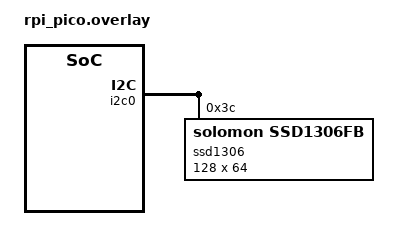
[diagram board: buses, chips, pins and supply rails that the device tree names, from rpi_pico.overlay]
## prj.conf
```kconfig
CONFIG_I2C=y
CONFIG_DISPLAY=y
CONFIG_SSD1306=y
# From Zephyr 3.5.0 CONFIG_SSD1306_DEFAULT is no longer used
# CONFIG_SSD1306_DEFAULT=y
CONFIG_SSD1306_DEFAULT_CONTRAST=128
CONFIG_LOG=y

CONFIG_HEAP_MEM_POOL_SIZE=16384
CONFIG_CFB_LOG_LEVEL_DBG=y
CONFIG_CHARACTER_FRAMEBUFFER=y
```

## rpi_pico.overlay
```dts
/ {
	chosen {
		zephyr,display = &ssd1306;
	};
};

&i2c0 {
      ssd1306: ssd1306@3c {
      	       compatible = "solomon,ssd1306fb";
	       reg = <0x3c>;
	       height = <64>;
	       width = <128>;
	       segment-offset = <0>;
	       page-offset = <0>;
	       display-offset = <0>;
	       multiplex-ratio = <63>;
	       prechargep = <0x22>;
	       com-invdir;
	       segment-remap;
      };
};
```

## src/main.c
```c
#include <stdint.h>
#include <zephyr/device.h>
#include <zephyr/kernel.h>
//#include <zephyr/drivers/display.h>
#include <zephyr/display/cfb.h>
#include <zephyr/logging/log.h>

LOG_MODULE_REGISTER(display);

static const struct device *disp = DEVICE_DT_GET(DT_CHOSEN(zephyr_display));

/* 1000 msec = 1 sec */
#define SLEEP_TIME_MS   200



int main(void)
{

	uint16_t x_res;
	uint16_t y_res;
	uint16_t rows;
	uint8_t ppt;
	uint8_t font_width;
	uint8_t font_height;


	if (disp == NULL) {
		LOG_ERR("display pointer is NULL");
		return 1;
	}

	if (!device_is_ready(disp)) {
		LOG_ERR("display device is not ready");
		return 1;
	}
        if (display_set_pixel_format(disp, PIXEL_FORMAT_MONO10) != 0) {
		if (display_set_pixel_format(disp, PIXEL_FORMAT_MONO01) != 0) {
			LOG_ERR("Failed to set required pixel format");
			return 0;
		}
	}

	//printf("Initialized %s\n", disp->name);

	if (cfb_framebuffer_init(disp)) {
		LOG_ERR("Framebuffer initialization failed!\n");
		return 0;
	}

	cfb_framebuffer_clear(disp, true);

	display_blanking_off(disp);

	x_res = cfb_get_display_parameter(disp, CFB_DISPLAY_WIDTH);
	y_res = cfb_get_display_parameter(disp, CFB_DISPLAY_HEIGH);
	rows = cfb_get_display_parameter(disp, CFB_DISPLAY_ROWS);
	ppt = cfb_get_display_parameter(disp, CFB_DISPLAY_PPT);

	/*
	for (int idx = 0; idx < 42; idx++) {
		if (cfb_get_font_size(disp, idx, &font_width, &font_height)) {
			break;
		}
		cfb_framebuffer_set_font(disp, idx);
		LOG_INF("font width %d, font height %d\n",
		       font_width, font_height);
	}
	*/

	LOG_INF("x_res %d, y_res %d, ppt %d, rows %d, cols %d\n",
	       x_res,
	       y_res,
	       ppt,
	       rows,
	       cfb_get_display_parameter(disp, CFB_DISPLAY_COLS));

	//cfb_framebuffer_invert(disp);

	//cfb_set_kerning(disp, 3);
	
	if (cfb_print(disp, "Hello World!", 0, y_res/3)) {
	    LOG_ERR("Failed to print a string\n");
	}
	if (cfb_print(disp, "Hello again!", 0, y_res*2/3)) {
	    LOG_ERR("Failed to print a string\n");
	}
	cfb_framebuffer_finalize(disp);
	
	while (1) {
		//k_msleep(SLEEP_TIME_MS);
		/*
		for (int i = 0; i < MIN(x_res, y_res); i++) {
			cfb_framebuffer_clear(disp, false);
			if (cfb_print(disp,
				      "0123456789mMgj!\"§$%&/()=",
				      i, i)) {
				LOG_ERR("Failed to print a string\n");
				continue;
			}

			cfb_framebuffer_finalize(disp);

			k_sleep(K_MSEC(20));
		}
		*/
		k_msleep(SLEEP_TIME_MS);
	}
	return 0;
}
```
